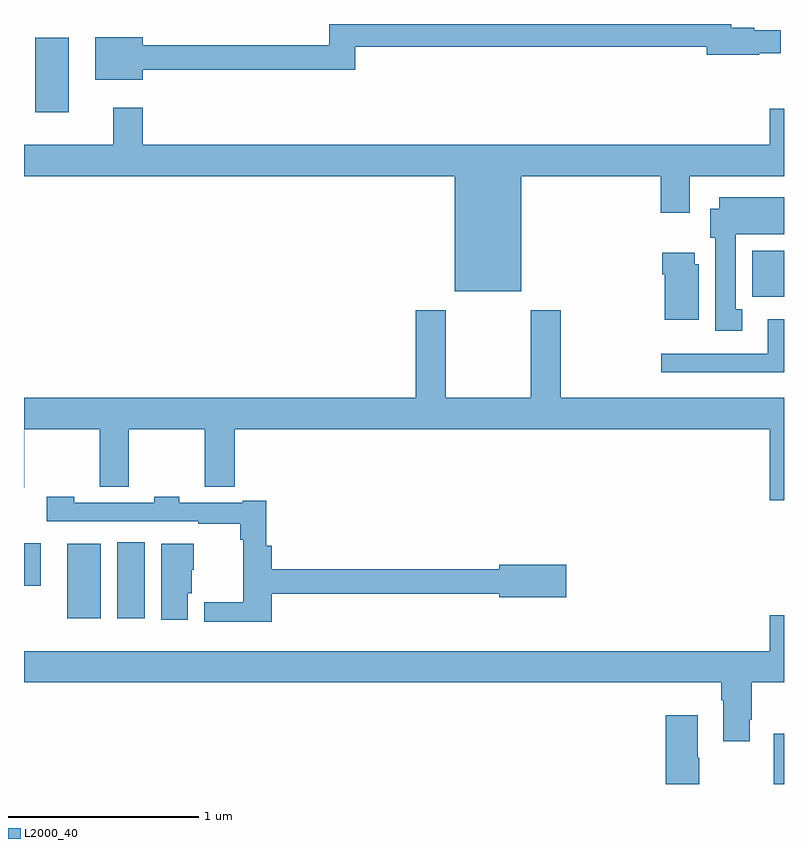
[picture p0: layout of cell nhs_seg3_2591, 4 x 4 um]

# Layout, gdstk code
import gdstk
lib = gdstk.Library(unit=1e-6, precision=1e-09)
def R(c, l, rs):  # rectangles x0, y0, x1, y1
    for r in rs: c.add(gdstk.rectangle(r[:2], r[2:], *l))
def P(c, l, *ps):  # polygons
    for p in ps: c.add(gdstk.Polygon(p, *l))
L2000_40 = (2000, 40)

nhs_seg3_2591 = lib.new_cell('nhs_seg3_2591')
R(nhs_seg3_2591, L2000_40, [(248.946,680.4,249,680.665), (245.228,681.272,245.404,681.664), (245.492,681.272,245.635,681.673), (245,681.443,245.089,681.667), (248.834,682.964,249,683.206), (245.06,683.936,245.236,684.328)])
P(nhs_seg3_2591, L2000_40, [(245.626,684.159),(246.743,684.159),(246.743,684.28),(248.594,684.28),(248.594,684.238),(248.87,684.238),(248.87,684.245),(248.983,684.245),(248.983,684.367),(248.844,684.367),(248.844,684.38),(248.722,684.38),(248.722,684.4),(246.607,684.4),(246.607,684.287),(245.626,684.287),(245.626,684.331),(245.375,684.331),(245.375,684.107),(245.626,684.107)],
  [(247.618,683.6),(248.351,683.6),(248.351,683.406),(248.503,683.406),(248.503,683.6),(249,683.6),(249,683.953),(248.924,683.953),(248.924,683.764),(245.624,683.764),(245.624,683.959),(245.471,683.959),(245.471,683.764),(245,683.764),(245,683.6),(247.268,683.6),(247.268,682.994),(247.618,682.994)],
  [(248.779,682.898),(248.746,682.898),(248.746,683.294),(249,683.294),(249,683.488),(248.66,683.488),(248.66,683.428),(248.612,683.428),(248.612,683.274),(248.639,683.274),(248.639,682.785),(248.779,682.785)],
  [(248.551,683.136),(248.53,683.136),(248.53,683.197),(248.36,683.197),(248.36,683.084),(248.372,683.084),(248.372,682.844),(248.551,682.844)],
  [(249,682.432),(247.826,682.432),(247.826,682.894),(247.666,682.894),(247.666,682.432),(247.221,682.432),(247.221,682.894),(247.061,682.894),(247.061,682.432),(245,682.432),(245,681.96),(245.001,681.96),(245.001,682.268),(245.398,682.268),(245.398,681.964),(245.552,681.964),(245.552,682.268),(245.95,682.268),(245.95,681.964),(246.11,681.964),(246.11,682.268),(248.924,682.268),(248.924,681.894),(249,681.894)],
  [(249,682.846),(248.915,682.846),(248.915,682.665),(248.355,682.665),(248.355,682.568),(249,682.568)],
  [(246.305,681.402),(247.502,681.402),(247.502,681.383),(247.855,681.383),(247.855,681.554),(247.502,681.554),(247.502,681.53),(246.305,681.53),(246.305,681.655),(246.275,681.655),(246.275,681.892),(246.152,681.892),(246.152,681.879),(245.817,681.879),(245.817,681.912),(245.685,681.912),(245.685,681.879),(245.265,681.879),(245.265,681.912),(245.121,681.912),(245.121,681.783),(245.917,681.783),(245.917,681.771),(246.139,681.771),(246.139,681.686),(246.154,681.686),(246.154,681.356),(245.949,681.356),(245.949,681.254),(246.305,681.254)],
  [(245.863,681.405),(245.884,681.405),(245.884,681.528),(245.893,681.528),(245.893,681.664),(245.723,681.664),(245.723,681.264),(245.863,681.264)],
  [(248.821,680.737),(248.829,680.737),(248.829,680.936),(249,680.936),(249,681.289),(248.924,681.289),(248.924,681.1),(245,681.1),(245,680.936),(248.669,680.936),(248.669,680.84),(248.681,680.84),(248.681,680.625),(248.821,680.625)],
  [(248.553,680.537),(248.545,680.537),(248.545,680.761),(248.378,680.761),(248.378,680.4),(248.553,680.4)])

lib.write_gds('nhs_seg3_2591.gds')
